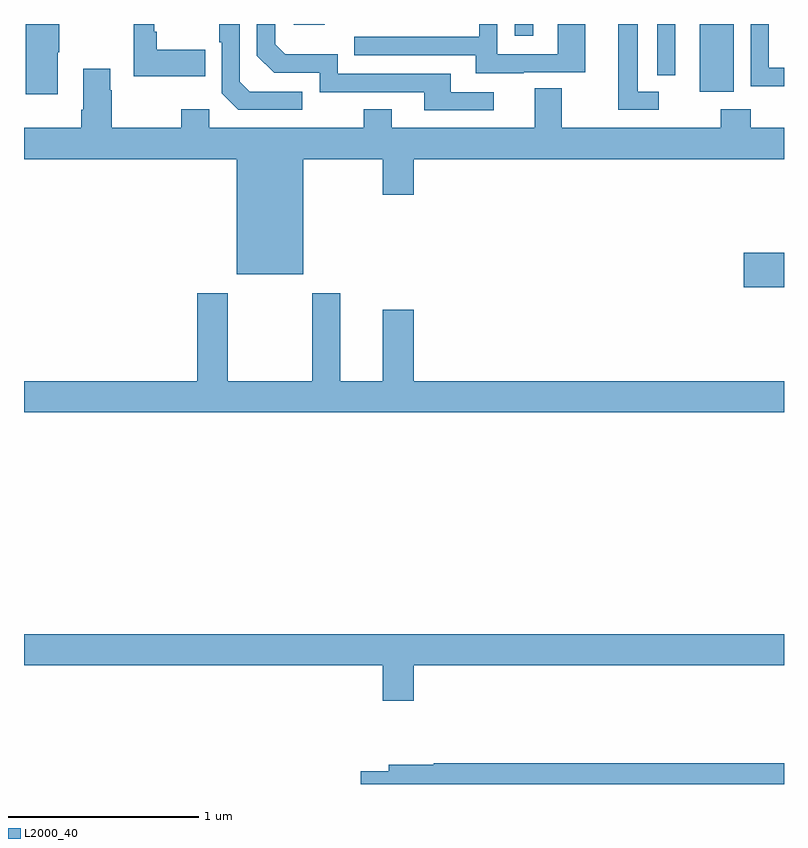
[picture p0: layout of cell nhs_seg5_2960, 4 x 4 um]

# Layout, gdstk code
import gdstk
lib = gdstk.Library(unit=1e-6, precision=1e-09)
def R(c, l, rs):  # rectangles x0, y0, x1, y1
    for r in rs: c.add(gdstk.rectangle(r[:2], r[2:], *l))
def P(c, l, *ps):  # polygons
    for p in ps: c.add(gdstk.Polygon(p, *l))
L2000_40 = (2000, 40)

nhs_seg5_2960 = lib.new_cell('nhs_seg5_2960')
R(nhs_seg5_2960, L2000_40, [(286.788,861.413,287,861.596), (286.556,862.442,286.735,862.799), (285.582,862.737,285.679,862.799), (284.421,862.796,284.582,862.799)])
P(nhs_seg5_2960, L2000_40, [(283.177,862.651),(283.185,862.651),(283.185,862.799),(283.01,862.799),(283.01,862.428),(283.177,862.428)],
  [(286.342,862.443),(286.231,862.443),(286.231,862.799),(286.127,862.799),(286.127,862.347),(286.342,862.347)],
  [(287,862.569),(286.92,862.569),(286.92,862.799),(286.824,862.799),(286.824,862.471),(287,862.471)],
  [(286.428,862.682),(286.427,862.682),(286.427,862.799),(286.332,862.799),(286.332,862.528),(286.428,862.528)],
  [(283.955,862.663),(283.699,862.663),(283.699,862.759),(283.686,862.759),(283.686,862.799),(283.578,862.799),(283.578,862.523),(283.955,862.523)],
  [(284.464,862.443),(284.187,862.443),(284.136,862.494),(284.136,862.799),(284.028,862.799),(284.028,862.703),(284.04,862.703),(284.04,862.434),(284.127,862.347),(284.464,862.347)],
  [(285.472,862.44),(285.247,862.44),(285.247,862.536),(284.652,862.536),(284.652,862.639),(284.375,862.639),(284.322,862.692),(284.322,862.799),(284.226,862.799),(284.226,862.632),(284.316,862.542),(284.556,862.542),(284.556,862.44),(285.107,862.44),(285.107,862.344),(285.472,862.344)],
  [(285.631,862.545),(285.955,862.545),(285.955,862.799),(285.81,862.799),(285.81,862.641),(285.492,862.641),(285.492,862.799),(285.396,862.799),(285.396,862.731),(284.737,862.731),(284.737,862.635),(285.377,862.635),(285.377,862.541),(285.631,862.541)],
  [(283.453,862.451),(283.453,862.564),(283.313,862.564),(283.313,862.348),(283.301,862.348),(283.301,862.252),(283,862.252),(283,862.088),(284.12,862.088),(284.12,861.482),(284.47,861.482),(284.47,862.088),(284.888,862.088),(284.888,861.9),(285.052,861.9),(285.052,862.088),(287,862.088),(287,862.252),(286.826,862.252),(286.826,862.351),(286.666,862.351),(286.666,862.252),(285.829,862.252),(285.829,862.46),(285.689,862.46),(285.689,862.252),(284.935,862.252),(284.935,862.351),(284.788,862.351),(284.788,862.252),(283.974,862.252),(283.974,862.351),(283.828,862.351),(283.828,862.252),(283.461,862.252),(283.461,862.451)],
  [(287,860.92),(285.052,860.92),(285.052,861.295),(284.888,861.295),(284.888,860.92),(284.665,860.92),(284.665,861.382),(284.518,861.382),(284.518,860.92),(284.073,860.92),(284.073,861.382),(283.913,861.382),(283.913,860.92),(283,860.92),(283,860.756),(287,860.756)],
  [(285.052,859.424),(287,859.424),(287,859.588),(283,859.588),(283,859.424),(284.888,859.424),(284.888,859.236),(285.052,859.236)],
  [(287,858.908),(285.156,858.908),(285.156,858.901),(284.921,858.901),(284.921,858.867),(284.772,858.867),(284.772,858.799),(287,858.799)])

lib.write_gds('nhs_seg5_2960.gds')
